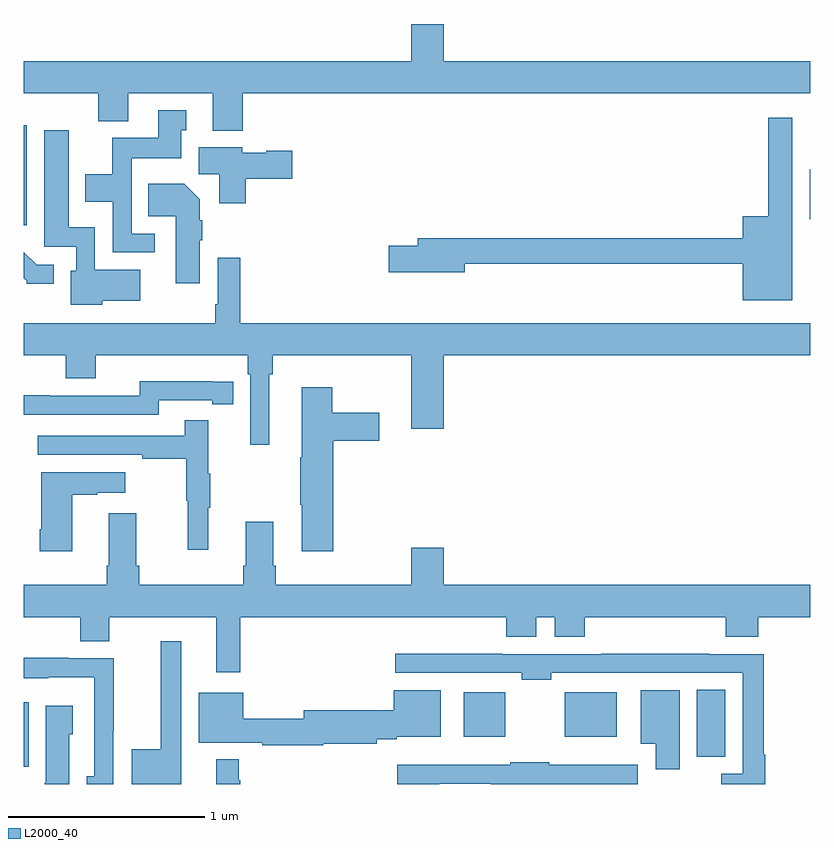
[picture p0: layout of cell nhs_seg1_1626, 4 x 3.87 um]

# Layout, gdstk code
import gdstk
lib = gdstk.Library(unit=1e-6, precision=1e-09)
def R(c, l, rs):  # rectangles x0, y0, x1, y1
    for r in rs: c.add(gdstk.rectangle(r[:2], r[2:], *l))
def P(c, l, *ps):  # polygons
    for p in ps: c.add(gdstk.Polygon(p, *l))
L2000_40 = (2000, 40)

nhs_seg1_1626 = lib.new_cell('nhs_seg1_1626')
R(nhs_seg1_1626, L2000_40, [(199,568.287,199.024,568.615), (202.424,568.337,202.567,568.679), (201.239,568.439,201.448,568.666), (201.752,568.439,202.015,568.666), (199,571.041,199.015,571.549), (202.997,571.073,203,571.327)])
P(nhs_seg1_1626, L2000_40, [(200.114,571.712),(203,571.712),(203,571.876),(201.136,571.876),(201.136,572.065),(200.972,572.065),(200.972,571.876),(199,571.876),(199,571.712),(199.379,571.712),(199.379,571.571),(199.531,571.571),(199.531,571.712),(199.961,571.712),(199.961,571.523),(200.114,571.523)],
  [(199.666,570.999),(199.548,570.999),(199.548,571.382),(199.801,571.382),(199.801,571.524),(199.825,571.524),(199.825,571.627),(199.685,571.627),(199.685,571.486),(199.45,571.486),(199.45,571.3),(199.313,571.3),(199.313,571.16),(199.452,571.16),(199.452,570.903),(199.666,570.903)],
  [(202.909,571.588),(202.788,571.588),(202.788,571.087),(202.658,571.087),(202.658,570.974),(201.005,570.974),(201.005,570.938),(200.856,570.938),(200.856,570.803),(201.244,570.803),(201.244,570.846),(202.658,570.846),(202.658,570.659),(202.909,570.659)],
  [(199.398,570.656),(199.591,570.656),(199.591,570.814),(199.362,570.814),(199.362,571.03),(199.228,571.03),(199.228,571.525),(199.103,571.525),(199.103,570.933),(199.266,570.933),(199.266,570.81),(199.238,570.81),(199.238,570.638),(199.398,570.638)],
  [(200.129,571.277),(200.365,571.277),(200.365,571.419),(200.232,571.419),(200.232,571.411),(200.112,571.411),(200.112,571.438),(199.889,571.438),(199.889,571.3),(199.994,571.3),(199.994,571.152),(200.129,571.152)],
  [(199.894,570.964),(199.907,570.964),(199.907,571.067),(199.894,571.067),(199.894,571.174),(199.816,571.252),(199.633,571.252),(199.633,571.088),(199.772,571.088),(199.772,570.747),(199.894,570.747)],
  [(199.153,570.84),(199.065,570.84),(199,570.905),(199,570.772),(199.014,570.758),(199.014,570.743),(199.153,570.743)],
  [(200.248,570.284),(200.267,570.284),(200.267,570.38),(200.972,570.38),(200.972,570.006),(201.136,570.006),(201.136,570.38),(203,570.38),(203,570.544),(200.102,570.544),(200.102,570.877),(199.986,570.877),(199.986,570.64),(199.974,570.64),(199.974,570.544),(199,570.544),(199,570.38),(199.214,570.38),(199.214,570.263),(199.366,570.263),(199.366,570.38),(200.138,570.38),(200.138,570.284),(200.151,570.284),(200.151,569.925),(200.248,569.925)],
  [(199.686,570.15),(199.958,570.15),(199.958,570.13),(200.066,570.13),(200.066,570.246),(199.958,570.246),(199.958,570.247),(199.59,570.247),(199.59,570.174),(199.13,570.174),(199.13,570.176),(199,570.176),(199,570.078),(199.686,570.078)],
  [(200.573,569.945),(200.809,569.945),(200.809,570.087),(200.568,570.087),(200.568,570.217),(200.414,570.217),(200.414,569.861),(200.407,569.861),(200.407,569.62),(200.414,569.62),(200.414,569.382),(200.573,569.382)],
  [(199.937,569.603),(199.948,569.603),(199.948,569.777),(199.937,569.777),(199.937,570.049),(199.819,570.049),(199.819,569.97),(199.071,569.97),(199.071,569.874),(199.603,569.874),(199.603,569.854),(199.827,569.854),(199.827,569.64),(199.834,569.64),(199.834,569.391),(199.937,569.391)],
  [(199.246,569.671),(199.373,569.671),(199.373,569.681),(199.516,569.681),(199.516,569.785),(199.088,569.785),(199.088,569.494),(199.081,569.494),(199.081,569.382),(199.246,569.382)],
  [(200.101,569.048),(201.455,569.048),(201.455,568.949),(201.607,568.949),(201.607,569.048),(201.701,569.048),(201.701,568.949),(201.854,568.949),(201.854,569.048),(202.571,569.048),(202.571,568.949),(202.736,568.949),(202.736,569.048),(203,569.048),(203,569.212),(201.136,569.212),(201.136,569.401),(200.972,569.401),(200.972,569.212),(200.282,569.212),(200.282,569.308),(200.269,569.308),(200.269,569.533),(200.129,569.533),(200.129,569.308),(200.117,569.308),(200.117,569.212),(199.586,569.212),(199.586,569.308),(199.573,569.308),(199.573,569.575),(199.433,569.575),(199.433,569.308),(199.421,569.308),(199.421,569.212),(199,569.212),(199,569.048),(199.288,569.048),(199.288,568.924),(199.435,568.924),(199.435,569.048),(199.979,569.048),(199.979,568.767),(200.101,568.767)],
  [(199.801,568.924),(199.697,568.924),(199.697,568.375),(199.55,568.375),(199.55,568.199),(199.801,568.199)],
  [(202.772,568.348),(202.765,568.348),(202.765,568.86),(202.487,568.86),(202.487,568.862),(201.937,568.862),(201.937,568.86),(201.434,568.86),(201.434,568.862),(200.889,568.862),(200.889,568.764),(201.534,568.764),(201.534,568.729),(201.684,568.729),(201.684,568.764),(202.656,568.764),(202.656,568.252),(202.547,568.252),(202.547,568.199),(202.772,568.199)],
  [(199.455,568.471),(199.458,568.471),(199.458,568.839),(199.225,568.839),(199.225,568.841),(199,568.841),(199,568.736),(199.125,568.736),(199.125,568.742),(199.359,568.742),(199.359,568.238),(199.319,568.238),(199.319,568.199),(199.455,568.199)],
  [(200.524,568.403),(200.796,568.403),(200.796,568.427),(200.896,568.427),(200.896,568.439),(201.121,568.439),(201.121,568.675),(200.882,568.675),(200.882,568.575),(200.424,568.575),(200.424,568.532),(200.116,568.532),(200.116,568.663),(199.889,568.663),(199.889,568.409),(200.212,568.409),(200.212,568.396),(200.524,568.396)],
  [(202.336,568.675),(202.139,568.675),(202.139,568.403),(202.214,568.403),(202.214,568.273),(202.336,568.273)],
  [(199.231,568.452),(199.249,568.452),(199.249,568.597),(199.112,568.597),(199.112,568.206),(199.106,568.206),(199.106,568.199),(199.231,568.199)],
  [(200.101,568.217),(200.094,568.217),(200.094,568.324),(199.979,568.324),(199.979,568.199),(200.101,568.199)],
  [(201.112,568.2),(201.374,568.2),(201.374,568.199),(202.123,568.199),(202.123,568.297),(201.674,568.297),(201.674,568.309),(201.474,568.309),(201.474,568.297),(200.899,568.297),(200.899,568.199),(201.112,568.199)])

lib.write_gds('nhs_seg1_1626.gds')
